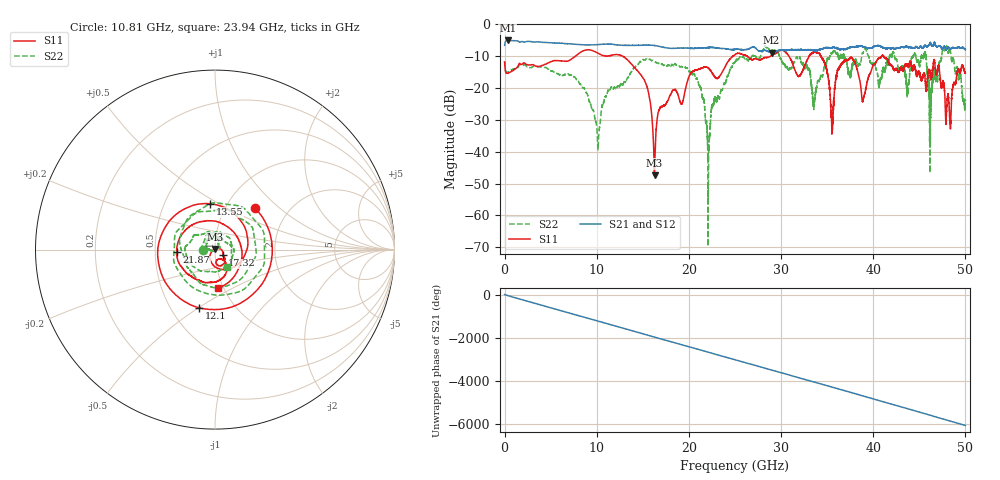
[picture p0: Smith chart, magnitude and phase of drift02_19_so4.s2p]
!Created with skrf (http://scikit-rf.org).
# Hz S RI R 50.0
!freq ReS11 ImS11 ReS21 ImS21 ReS12 ImS12 ReS22 ImS22
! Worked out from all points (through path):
!   10001 points, 300 kHz to 50 GHz, reference 50 ohm
!   highest |S21| = -5.04 dB at 335.3 MHz (marker M1); lowest = -8.9 dB at 28.97 GHz (marker M2)
!   group delay of S21, straight-line fit = 336 ps
!   lowest |S11| = -47.4 dB at 16.27 GHz (marker M3), VSWR 1.01, Z = 50 + j0.422 ohm
!   |S11| at or under -10 dB: start of sweep to 7.668 GHz; 12.81 GHz to 24.77 GHz (11.96 GHz wide, 63.6 % of centre); 41.13 GHz to end of sweep (the widest 3 of 13)
!   |S22| runs from -69.7 to -6.8 dB; largest |S21 - S12| = 0.031
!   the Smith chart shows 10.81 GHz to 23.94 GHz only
!   S11 on the Smith chart (normalised r, x): 10.81 GHz: 1.37, +0.70; 12.1 GHz: 0.69, -0.50; 13.55 GHz: 0.83, +0.45; 17.32 GHz: 1.09, -0.07; 21.87 GHz: 0.65, -0.02; 23.94 GHz: 0.95, -0.43
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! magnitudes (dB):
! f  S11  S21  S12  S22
! 300 kHz  -11.8  -6.6  -6.5  -11.7
! 335.3 MHz  -15.3  -5.0  -5.0  -15.1
! 8.335 GHz  -8.6  -6.4  -6.4  -19.1
! 10.11 GHz  -9.0  -6.3  -6.3  -38.0
! 10.81 GHz  -9.9  -6.2  -6.2  -23.8
! 12.1 GHz  -9.5  -6.4  -6.4  -20.3
! 13.55 GHz  -11.8  -6.6  -6.6  -15.9
! 16.27 GHz  -47.4  -6.6  -6.6  -11.7
! 16.67 GHz  -27.6  -6.8  -6.8  -12.2
! 17.32 GHz  -25.5  -7.3  -7.2  -12.8
! 20.74 GHz  -14.3  -7.5  -7.5  -16.9
! 21.87 GHz  -13.4  -7.3  -7.3  -30.3
! 23.94 GHz  -13.3  -7.6  -7.6  -18.7
! 25 GHz  -9.5  -7.9  -7.9  -11.8
! 28.97 GHz  -9.8  -8.9  -8.9  -8.1
! 33.34 GHz  -9.2  -8.0  -8.0  -20.1
! 35.55 GHz  -30.9  -7.2  -7.2  -9.0
! 36.8 GHz  -11.8  -7.8  -7.7  -10.1
! 41.67 GHz  -12.0  -7.4  -7.5  -11.8
! 46.26 GHz  -17.4  -6.2  -6.2  -24.2
! 48.13 GHz  -22.3  -7.2  -7.2  -8.7
! 50 GHz  -15.2  -7.9  -7.9  -24.1
